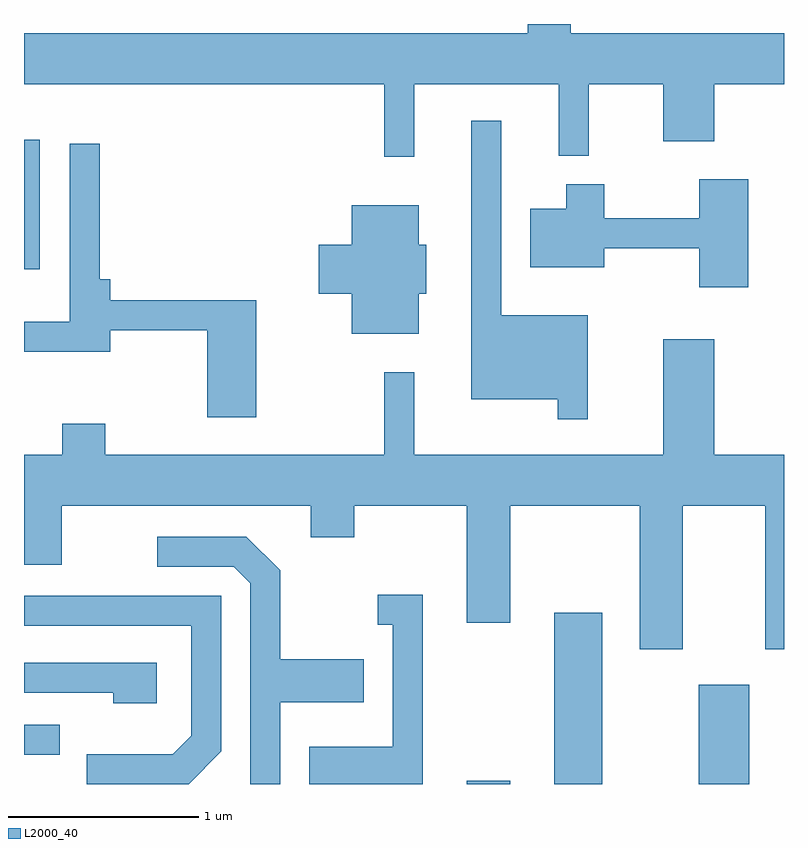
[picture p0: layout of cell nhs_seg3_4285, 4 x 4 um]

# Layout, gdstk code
import gdstk
lib = gdstk.Library(unit=1e-6, precision=1e-09)
def R(c, l, rs):  # rectangles x0, y0, x1, y1
    for r in rs: c.add(gdstk.rectangle(r[:2], r[2:], *l))
def P(c, l, *ps):  # polygons
    for p in ps: c.add(gdstk.Polygon(p, *l))
L2000_40 = (2000, 40)

nhs_seg3_4285 = lib.new_cell('nhs_seg3_4285')
R(nhs_seg3_4285, L2000_40, [(313.941,1117.892,314.169,1117.909), (314.401,1117.892,314.654,1118.794), (315.161,1117.892,315.429,1118.414), (311.611,1118.046,311.798,1118.204), (311.611,1120.601,311.694,1121.284)])
P(nhs_seg3_4285, L2000_40, [(311.611,1121.576),(313.506,1121.576),(313.506,1121.193),(313.664,1121.193),(313.664,1121.576),(314.426,1121.576),(314.426,1121.198),(314.584,1121.198),(314.584,1121.576),(314.976,1121.576),(314.976,1121.276),(315.244,1121.276),(315.244,1121.576),(315.611,1121.576),(315.611,1121.844),(314.489,1121.844),(314.489,1121.892),(314.261,1121.892),(314.261,1121.844),(311.611,1121.844)],
  [(314.579,1120.359),(314.124,1120.359),(314.124,1121.383),(313.966,1121.383),(313.966,1119.916),(314.421,1119.916),(314.421,1119.813),(314.579,1119.813)],
  [(312.834,1120.439),(312.064,1120.439),(312.064,1120.549),(312.009,1120.549),(312.009,1121.263),(311.851,1121.263),(311.851,1120.324),(311.611,1120.324),(311.611,1120.166),(312.064,1120.166),(312.064,1120.281),(312.576,1120.281),(312.576,1119.821),(312.834,1119.821)],
  [(315.424,1121.074),(315.166,1121.074),(315.166,1120.869),(314.664,1120.869),(314.664,1121.049),(314.466,1121.049),(314.466,1120.919),(314.276,1120.919),(314.276,1120.611),(314.664,1120.611),(314.664,1120.711),(315.166,1120.711),(315.166,1120.506),(315.424,1120.506)],
  [(313.689,1120.471),(313.729,1120.471),(313.729,1120.729),(313.689,1120.729),(313.689,1120.939),(313.336,1120.939),(313.336,1120.729),(313.161,1120.729),(313.161,1120.471),(313.336,1120.471),(313.336,1120.261),(313.689,1120.261)],
  [(315.079,1119.356),(315.511,1119.356),(315.511,1118.601),(315.611,1118.601),(315.611,1119.624),(315.244,1119.624),(315.244,1120.234),(314.976,1120.234),(314.976,1119.624),(313.664,1119.624),(313.664,1120.058),(313.506,1120.058),(313.506,1119.624),(312.039,1119.624),(312.039,1119.789),(311.811,1119.789),(311.811,1119.624),(311.611,1119.624),(311.611,1119.046),(311.809,1119.046),(311.809,1119.356),(313.121,1119.356),(313.121,1119.191),(313.349,1119.191),(313.349,1119.356),(313.941,1119.356),(313.941,1118.741),(314.169,1118.741),(314.169,1119.356),(314.851,1119.356),(314.851,1118.601),(315.079,1118.601)],
  [(312.959,1118.321),(313.399,1118.321),(313.399,1118.549),(312.959,1118.549),(312.959,1119.017),(312.782,1119.194),(312.313,1119.194),(312.313,1119.036),(312.714,1119.036),(312.801,1118.949),(312.801,1117.892),(312.959,1117.892)],
  [(313.709,1118.889),(313.473,1118.889),(313.473,1118.731),(313.551,1118.731),(313.551,1118.089),(313.111,1118.089),(313.111,1117.892),(313.709,1117.892)],
  [(312.649,1118.064),(312.649,1118.884),(311.611,1118.884),(311.611,1118.726),(312.491,1118.726),(312.491,1118.147),(312.394,1118.049),(311.941,1118.049),(311.941,1117.892),(312.478,1117.892)],
  [(312.309,1118.529),(311.611,1118.529),(311.611,1118.371),(312.081,1118.371),(312.081,1118.316),(312.309,1118.316)])

lib.write_gds('nhs_seg3_4285.gds')
